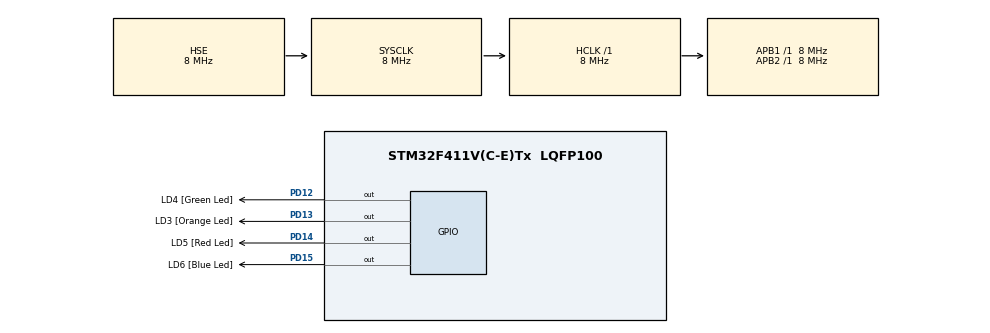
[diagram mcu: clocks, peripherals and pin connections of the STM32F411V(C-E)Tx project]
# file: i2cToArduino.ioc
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Mcu.Family=STM32F4
Mcu.Name=STM32F411V(C-E)Tx
Mcu.Package=LQFP100
NVIC.PriorityGroup=NVIC_PRIORITYGROUP_0
PA13.GPIO_Label=SWDIO
PA13.Mode=Serial_Wire
PA13.Signal=SYS_JTMS-SWDIO
PA14.GPIO_Label=SWCLK
PA14.Mode=Serial_Wire
PA14.Signal=SYS_JTCK-SWCLK
PD12.GPIO_Label=LD4 [Green Led]
PD12.GPIO_PuPd=GPIO_NOPULL
PD12.GPIO_Speed=GPIO_SPEED_FREQ_LOW
PD12.Signal=GPIO_Output
PD13.GPIO_Label=LD3 [Orange Led]
PD13.GPIO_PuPd=GPIO_NOPULL
PD13.GPIO_Speed=GPIO_SPEED_FREQ_LOW
PD13.Signal=GPIO_Output
PD14.GPIO_Label=LD5 [Red Led]
PD14.GPIO_PuPd=GPIO_NOPULL
PD14.GPIO_Speed=GPIO_SPEED_FREQ_LOW
PD14.Signal=GPIO_Output
PD15.GPIO_Label=LD6 [Blue Led]
PD15.GPIO_PuPd=GPIO_NOPULL
PD15.GPIO_Speed=GPIO_SPEED_FREQ_LOW
PD15.Signal=GPIO_Output
PH0\ -\ OSC_IN.GPIO_Label=PH0-OSC_IN
PH0\ -\ OSC_IN.Mode=HSE-External-Oscillator
PH0\ -\ OSC_IN.Signal=RCC_OSC_IN
PH1\ -\ OSC_OUT.Mode=HSE-External-Oscillator
PH1\ -\ OSC_OUT.Signal=RCC_OSC_OUT
ProjectManager.HeapSize=0x200
ProjectManager.StackSize=0x400
ProjectManager.TargetToolchain=STM32CubeIDE
RCC.48MHZClocksFreq_Value=8000000
RCC.AHBFreq_Value=8000000
RCC.APB1Freq_Value=8000000
RCC.APB1TimFreq_Value=8000000
RCC.APB2Freq_Value=8000000
RCC.APB2TimFreq_Value=8000000
RCC.CortexFreq_Value=8000000
RCC.HCLKFreq_Value=8000000
RCC.HSE_VALUE=8000000
RCC.HSI_VALUE=16000000
RCC.LSE_VALUE=32768
RCC.PLLI2SM=5
RCC.PLLI2SN=200
RCC.PLLM=8
RCC.PLLN=64
RCC.PLLQ=8
RCC.PLLSourceVirtual=RCC_PLLSOURCE_HSE
RCC.SYSCLKFreq_VALUE=8000000
RCC.SYSCLKSource=RCC_SYSCLKSOURCE_HSE
RCC.VCOOutputFreq_Value=64000000
board=STM32F411E-DISCO

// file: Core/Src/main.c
/* USER CODE BEGIN Header */
/**
  ******************************************************************************
  * @file           : main.c
  * @brief          : Main program body
  ******************************************************************************
  * @attention
  *
  * Copyright (c) 2023 STMicroelectronics.
  * All rights reserved.
  *
  * This software is licensed under terms that can be found in the LICENSE file
  * in the root directory of this software component.
  * If no LICENSE file comes with this software, it is provided AS-IS.
  *
  ******************************************************************************
  */
/* USER CODE END Header */
#include "main.h"

/* USER CODE BEGIN Includes */
#include <stdint.h>
#include <stdio.h>
#include <i2c1.h>
/* USER CODE END Includes */

/* USER CODE BEGIN PV */

//AHB bus

/* USER CODE END PV */

void SystemClock_Config(void);
static void MX_GPIO_Init(void);
/* USER CODE BEGIN PFP */

///////////

/* USER CODE END PFP */

int main(void)
{

  /* MCU Configuration--------------------------------------------------------*/

  /* Reset of all peripherals, Initializes the Flash interface and the Systick. */
  HAL_Init();

  /* Configure the system clock */
  SystemClock_Config();

  /* Initialize all configured peripherals */
  MX_GPIO_Init();
  /* USER CODE BEGIN 2 */

  enablePinToDebug_portD();
  uint32_t *GPIOx_ODR = (uint32_t*)(0x40020C00 + 0x14);

	i2c1Config();
	HAL_Delay(500);

	uint8_t data1[8] = {0x54, 0x56, 0x98, 0x65};
	uint8_t data[8] = {0};
	uint8_t addrr = 0x04;
	HAL_Delay(1000);

	i2c1MasterWrite(addrr, 4, data1);

	HAL_Delay(2000);

	i2c1MasterRead(addrr | 0x01, 5, data);  //OR with 0x01 indicated that is reading address

	if(data[0] == 0x89)
	{

		*GPIOx_ODR |= (1 << 15);
	}
	if(data[1] == 0x99)
	{

		*GPIOx_ODR |= (1 << 14);
	}
	if(data[2] == 0xA9)
	{

		*GPIOx_ODR |= (1 << 13);
	}
	if(data[3] == 0xB9)
	{

		*GPIOx_ODR |= (1 << 12);
	}
	if(data[4] == 0xC9)
	{

		HAL_Delay(500);
		*GPIOx_ODR &= ~(1 << 15);
		*GPIOx_ODR &= ~(1 << 14);
		*GPIOx_ODR &= ~(1 << 13);
		*GPIOx_ODR &= ~(1 << 12);
		HAL_Delay(500);
		*GPIOx_ODR |= (1 << 15);
		*GPIOx_ODR |= (1 << 14);
		*GPIOx_ODR |= (1 << 13);
		*GPIOx_ODR |= (1 << 12);
		HAL_Delay(500);
		*GPIOx_ODR &= ~(1 << 15);
		*GPIOx_ODR &= ~(1 << 14);
		*GPIOx_ODR &= ~(1 << 13);
		*GPIOx_ODR &= ~(1 << 12);
		HAL_Delay(500);
		*GPIOx_ODR |= (1 << 15);
		*GPIOx_ODR |= (1 << 14);
		*GPIOx_ODR |= (1 << 13);
		*GPIOx_ODR |= (1 << 12);
		HAL_Delay(500);
	}
	HAL_Delay(2000);

	*GPIOx_ODR |= (1 << 14);
	HAL_Delay(500);
	*GPIOx_ODR &= ~(1 << 14);
	HAL_Delay(500);
	*GPIOx_ODR |= (1 << 14);
	HAL_Delay(500);
	*GPIOx_ODR &= ~(1 << 14);
	HAL_Delay(500);
	*GPIOx_ODR |= (1 << 14);
	HAL_Delay(500);
	*GPIOx_ODR &= ~(1 << 14);
	HAL_Delay(500);
	HAL_Delay(1000);
	*GPIOx_ODR &= ~(1 << 15);

	i2c1MasterRead(addrr | 0x01, 5, data);

	if(data[0] == 0x89)
	{

		*GPIOx_ODR |= (1 << 15);
	}
	if(data[1] == 0x99)
	{

		*GPIOx_ODR |= (1 << 14);
	}
	if(data[2] == 0xA9)
	{

		*GPIOx_ODR |= (1 << 13);
	}
	if(data[3] == 0xB9)
	{

		*GPIOx_ODR |= (1 << 12);
	}
	if(data[4] == 0xC9)
	{

		HAL_Delay(500);
		*GPIOx_ODR &= ~(1 << 15);
		*GPIOx_ODR &= ~(1 << 14);
		*GPIOx_ODR &= ~(1 << 13);
		*GPIOx_ODR &= ~(1 << 12);
		HAL_Delay(500);
		*GPIOx_ODR |= (1 << 15);
		*GPIOx_ODR |= (1 << 14);
		*GPIOx_ODR |= (1 << 13);
		*GPIOx_ODR |= (1 << 12);
		HAL_Delay(500);
		*GPIOx_ODR &= ~(1 << 15);
		*GPIOx_ODR &= ~(1 << 14);
		*GPIOx_ODR &= ~(1 << 13);
		*GPIOx_ODR &= ~(1 << 12);
		HAL_Delay(500);
		*GPIOx_ODR |= (1 << 15);
		*GPIOx_ODR |= (1 << 14);
		*GPIOx_ODR |= (1 << 13);
		*GPIOx_ODR |= (1 << 12);
		HAL_Delay(500);
	}
	HAL_Delay(2000);

	*GPIOx_ODR |= (1 << 14);
	HAL_Delay(500);
	*GPIOx_ODR &= ~(1 << 14);
	HAL_Delay(500);
	*GPIOx_ODR |= (1 << 14);
	HAL_Delay(500);
	*GPIOx_ODR &= ~(1 << 14);
	HAL_Delay(500);
	*GPIOx_ODR |= (1 << 14);
	HAL_Delay(500);
	*GPIOx_ODR &= ~(1 << 14);
	HAL_Delay(500);
	HAL_Delay(1000);
	*GPIOx_ODR &= ~(1 << 15);

	i2c1MasterRead(addrr | 0x01, 5, data);

	if(data[0] == 0x89)
	{

		*GPIOx_ODR |= (1 << 15);
	}
	if(data[1] == 0x99)
	{

		*GPIOx_ODR |= (1 << 14);
	}
	if(data[2] == 0xA9)
	{

		*GPIOx_ODR |= (1 << 13);
	}
	if(data[3] == 0xB9)
	{

		*GPIOx_ODR |= (1 << 12);
	}
	if(data[4] == 0xC9)
	{

		HAL_Delay(500);
		*GPIOx_ODR &= ~(1 << 15);
		*GPIOx_ODR &= ~(1 << 14);
		*GPIOx_ODR &= ~(1 << 13);
		*GPIOx_ODR &= ~(1 << 12);
		HAL_Delay(500);
		*GPIOx_ODR |= (1 << 15);
		*GPIOx_ODR |= (1 << 14);
		*GPIOx_ODR |= (1 << 13);
		*GPIOx_ODR |= (1 << 12);
		HAL_Delay(500);
		*GPIOx_ODR &= ~(1 << 15);
		*GPIOx_ODR &= ~(1 << 14);
		*GPIOx_ODR &= ~(1 << 13);
		*GPIOx_ODR &= ~(1 << 12);
		HAL_Delay(500);
		*GPIOx_ODR |= (1 << 15);
		*GPIOx_ODR |= (1 << 14);
		*GPIOx_ODR |= (1 << 13);
		*GPIOx_ODR |= (1 << 12);
		HAL_Delay(500);
	}
	HAL_Delay(2000);

	HAL_Delay(1000);

	i2c1MasterWrite(addrr, 4, data1);

#if 0
  i2c1SendCmd(0x02);  //return home - forced command for 4-bit mode lcd
  HAL_Delay(5);
  i2c1SendCmd(0x28);  //set interface 4-bit, 5x7
  HAL_Delay(5);
  i2c1SendCmd(0x0e);  //turn on display with cursor(cursor isn't blink)
  HAL_Delay(5);

  i2c1SendCmd(0x01);  //clear display
  HAL_Delay(5);

  i2c1SendData(0x61);
  HAL_Delay(5);
  //i2c1SendCmd(0x14);  //shift cursor only ; 0x1c shift display and cursor
  HAL_Delay(5);

  //i2c1SendCmd(0x80|0x01);  //set cursor to begin of second line, 0x80 indicate that setting SDRAM address
  HAL_Delay(5);

  gotoXYLcd(0,1);
  //i2c1SendCmd(0x0e);
  HAL_Delay(5);
  i2c1SendData('B');
  HAL_Delay(5);

  char* str = NULL;
  sprintf(str, "what us %d", 0x65);
  i2c1SendString(str);

  printf("check value");

  HAL_Delay(5);
  i2c1SendString("hello this\nis");
   HAL_Delay(5);
  /* USER CODE END 2 */
#endif
  /* Infinite loop */
  while (1)
  {

  }
}

void SystemClock_Config(void)
{
  RCC_OscInitTypeDef RCC_OscInitStruct = {0};
  RCC_ClkInitTypeDef RCC_ClkInitStruct = {0};

  /** Configure the main internal regulator output voltage
  */
  __HAL_RCC_PWR_CLK_ENABLE();
  __HAL_PWR_VOLTAGESCALING_CONFIG(PWR_REGULATOR_VOLTAGE_SCALE1);

  /** Initializes the RCC Oscillators according to the specified parameters
  * in the RCC_OscInitTypeDef structure.
  */
  RCC_OscInitStruct.OscillatorType = RCC_OSCILLATORTYPE_HSE;
  RCC_OscInitStruct.HSEState = RCC_HSE_ON;
  RCC_OscInitStruct.PLL.PLLState = RCC_PLL_NONE;
  if (HAL_RCC_OscConfig(&RCC_OscInitStruct) != HAL_OK)
  {
    Error_Handler();
  }

  /** Initializes the CPU, AHB and APB buses clocks
  */
  RCC_ClkInitStruct.ClockType = RCC_CLOCKTYPE_HCLK|RCC_CLOCKTYPE_SYSCLK
                              |RCC_CLOCKTYPE_PCLK1|RCC_CLOCKTYPE_PCLK2;
  RCC_ClkInitStruct.SYSCLKSource = RCC_SYSCLKSOURCE_HSE;
  RCC_ClkInitStruct.AHBCLKDivider = RCC_SYSCLK_DIV1;
  RCC_ClkInitStruct.APB1CLKDivider = RCC_HCLK_DIV1;
  RCC_ClkInitStruct.APB2CLKDivider = RCC_HCLK_DIV1;

  if (HAL_RCC_ClockConfig(&RCC_ClkInitStruct, FLASH_LATENCY_0) != HAL_OK)
  {
    Error_Handler();
  }
}

static void MX_GPIO_Init(void)
{
  GPIO_InitTypeDef GPIO_InitStruct = {0};

  /* GPIO Ports Clock Enable */
  __HAL_RCC_GPIOH_CLK_ENABLE();
  __HAL_RCC_GPIOD_CLK_ENABLE();
  __HAL_RCC_GPIOA_CLK_ENABLE();

  /*Configure GPIO pin Output Level */
  HAL_GPIO_WritePin(GPIOD, LD4_Pin|LD3_Pin|LD5_Pin|LD6_Pin, GPIO_PIN_RESET);

  /*Configure GPIO pins : LD4_Pin LD3_Pin LD5_Pin LD6_Pin */
  GPIO_InitStruct.Pin = LD4_Pin|LD3_Pin|LD5_Pin|LD6_Pin;
  GPIO_InitStruct.Mode = GPIO_MODE_OUTPUT_PP;
  GPIO_InitStruct.Pull = GPIO_NOPULL;
  GPIO_InitStruct.Speed = GPIO_SPEED_FREQ_LOW;
  HAL_GPIO_Init(GPIOD, &GPIO_InitStruct);

}

void Error_Handler(void)
{
  __disable_irq();
  while (1)
  {
  }
}
